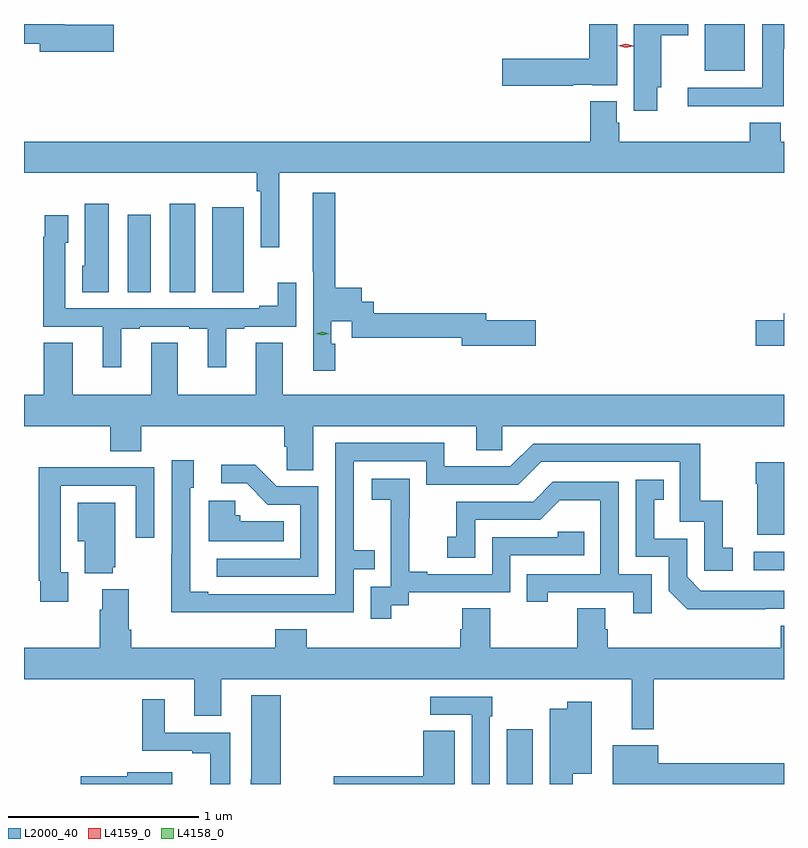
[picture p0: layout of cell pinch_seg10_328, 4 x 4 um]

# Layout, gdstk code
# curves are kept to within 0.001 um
import gdstk
lib = gdstk.Library(unit=1e-6, precision=1e-09)
def R(c, l, rs):  # rectangles x0, y0, x1, y1
    for r in rs: c.add(gdstk.rectangle(r[:2], r[2:], *l))
def P(c, l, *ps):  # polygons
    for p in ps: c.add(gdstk.Polygon(p, *l))
L2000_40 = (2000, 40)
L4158_0 = (4158, 0)
L4159_0 = (4159, 0)

pinch_seg10_328 = lib.new_cell('pinch_seg10_328')
R(pinch_seg10_328, L2000_40, [(480.821,1275.788,480.958,1276.075), (482.121,1276.914,482.28,1277.01), (478.826,1278.376,478.948,1278.784), (479.048,1278.376,479.182,1278.841), (479.27,1278.376,479.437,1278.823), (481.862,1279.541,482.074,1279.788)])
P(pinch_seg10_328, L2000_40, [(478.753,1279.784),(478.492,1279.784),(478.492,1279.788),(478.28,1279.788),(478.28,1279.684),(478.364,1279.684),(478.364,1279.642),(478.753,1279.642)],
  [(481.172,1279.469),(481.272,1279.469),(481.272,1279.466),(481.402,1279.466),(481.402,1279.788),(481.256,1279.788),(481.256,1279.604),(480.798,1279.604),(480.798,1279.462),(481.172,1279.462)],
  [(482.278,1279.659),(482.28,1279.659),(482.28,1279.788),(482.165,1279.788),(482.165,1279.452),(481.773,1279.452),(481.773,1279.355),(482.278,1279.355)],
  [(481.612,1279.455),(481.633,1279.455),(481.633,1279.73),(481.777,1279.73),(481.777,1279.788),(481.49,1279.788),(481.49,1279.332),(481.612,1279.332)],
  [(479.624,1279.004),(482.28,1279.004),(482.28,1279.168),(482.264,1279.168),(482.264,1279.267),(482.099,1279.267),(482.099,1279.168),(481.412,1279.168),(481.412,1279.269),(481.399,1279.269),(481.399,1279.381),(481.259,1279.381),(481.259,1279.168),(478.28,1279.168),(478.28,1279.004),(479.506,1279.004),(479.506,1278.908),(479.526,1278.908),(479.526,1278.612),(479.624,1278.612)],
  [(479.918,1278.105),(479.898,1278.105),(479.898,1278.224),(480.006,1278.224),(480.006,1278.138),(480.584,1278.138),(480.584,1278.095),(480.973,1278.095),(480.973,1278.23),(480.712,1278.23),(480.712,1278.266),(480.122,1278.266),(480.122,1278.327),(480.058,1278.327),(480.058,1278.401),(479.918,1278.401),(479.918,1278.901),(479.801,1278.901),(479.801,1278.484),(479.802,1278.484),(479.802,1277.964),(479.918,1277.964)],
  [(478.726,1278.841),(478.601,1278.841),(478.601,1278.516),(478.586,1278.516),(478.586,1278.376),(478.726,1278.376)],
  [(478.792,1278.183),(478.888,1278.183),(478.888,1278.195),(479.15,1278.195),(479.15,1278.183),(479.246,1278.183),(479.246,1277.982),(479.344,1277.982),(479.344,1278.183),(479.44,1278.183),(479.44,1278.195),(479.712,1278.195),(479.712,1278.427),(479.615,1278.427),(479.615,1278.304),(479.519,1278.304),(479.519,1278.291),(478.497,1278.291),(478.497,1278.636),(478.513,1278.636),(478.513,1278.781),(478.389,1278.781),(478.389,1278.668),(478.381,1278.668),(478.381,1278.195),(478.694,1278.195),(478.694,1277.982),(478.792,1277.982)],
  [(482.28,1278.266),(482.279,1278.266),(482.279,1278.23),(482.13,1278.23),(482.13,1278.095),(482.28,1278.095)],
  [(479.803,1277.672),(480.659,1277.672),(480.659,1277.545),(480.798,1277.545),(480.798,1277.672),(482.28,1277.672),(482.28,1277.836),(479.641,1277.836),(479.641,1278.11),(479.501,1278.11),(479.501,1277.836),(479.089,1277.836),(479.089,1278.11),(478.949,1278.11),(478.949,1277.836),(478.537,1277.836),(478.537,1278.11),(478.385,1278.11),(478.385,1277.836),(478.28,1277.836),(478.28,1277.672),(478.733,1277.672),(478.733,1277.539),(478.898,1277.539),(478.898,1277.672),(479.651,1277.672),(479.651,1277.563),(479.664,1277.563),(479.664,1277.44),(479.803,1277.44)],
  [(479.519,1276.692),(480.015,1276.692),(480.015,1276.917),(480.125,1276.917),(480.125,1277.018),(480.015,1277.018),(480.015,1277.487),(480.396,1277.487),(480.396,1277.364),(480.882,1277.364),(481.002,1277.484),(481.731,1277.484),(481.731,1277.169),(481.86,1277.169),(481.86,1276.911),(482.011,1276.911),(482.011,1277.031),(481.958,1277.031),(481.958,1277.278),(481.84,1277.278),(481.84,1277.58),(480.96,1277.58),(480.84,1277.46),(480.493,1277.46),(480.493,1277.583),(479.919,1277.583),(479.919,1276.788),(479.251,1276.788),(479.251,1276.801),(479.154,1276.801),(479.154,1277.346),(479.173,1277.346),(479.173,1277.491),(479.058,1277.491),(479.058,1276.997),(479.056,1276.997),(479.056,1276.691)],
  [(482.28,1277.482),(482.131,1277.482),(482.131,1277.369),(482.138,1277.369),(482.138,1277.099),(482.28,1277.099)],
  [(479.829,1277.355),(479.61,1277.355),(479.497,1277.468),(479.319,1277.468),(479.319,1277.37),(479.453,1277.37),(479.564,1277.259),(479.733,1277.259),(479.733,1276.974),(479.295,1276.974),(479.295,1276.878),(479.829,1276.878)],
  [(478.513,1276.902),(478.473,1276.902),(478.473,1277.358),(478.869,1277.358),(478.869,1277.085),(478.965,1277.085),(478.965,1277.454),(478.649,1277.454),(478.649,1277.456),(478.357,1277.456),(478.357,1276.858),(478.365,1276.858),(478.365,1276.746),(478.513,1276.746)],
  [(480.214,1276.729),(480.306,1276.729),(480.306,1276.797),(480.84,1276.797),(480.84,1276.992),(481.229,1276.992),(481.229,1277.115),(481.089,1277.115),(481.089,1277.088),(480.744,1277.088),(480.744,1276.893),(480.403,1276.893),(480.403,1276.906),(480.308,1276.906),(480.308,1277.189),(480.309,1277.189),(480.309,1277.395),(480.111,1277.395),(480.111,1277.285),(480.209,1277.285),(480.209,1277.057),(480.21,1277.057),(480.21,1276.827),(480.105,1276.827),(480.105,1276.659),(480.214,1276.659)],
  [(482.18,1276.71),(482.28,1276.71),(482.28,1276.806),(481.842,1276.806),(481.77,1276.878),(481.77,1277.079),(481.597,1277.079),(481.597,1277.283),(481.646,1277.283),(481.646,1277.389),(481.5,1277.389),(481.5,1276.983),(481.674,1276.983),(481.674,1276.806),(481.772,1276.709)],
  [(481.584,1276.893),(481.41,1276.893),(481.41,1277.379),(481.064,1277.379),(480.959,1277.274),(480.556,1277.274),(480.556,1277.089),(480.507,1277.089),(480.507,1276.98),(480.654,1276.98),(480.654,1277.178),(480.996,1277.178),(481.1,1277.282),(481.314,1277.282),(481.314,1276.893),(480.925,1276.893),(480.925,1276.746),(481.036,1276.746),(481.036,1276.797),(481.487,1276.797),(481.487,1276.686),(481.584,1276.686)],
  [(479.648,1277.17),(479.418,1277.17),(479.418,1277.202),(479.391,1277.202),(479.391,1277.278),(479.252,1277.278),(479.252,1277.066),(479.648,1277.066)],
  [(478.748,1276.929),(478.759,1276.929),(478.759,1277.269),(478.562,1277.269),(478.562,1277.066),(478.601,1277.066),(478.601,1276.898),(478.748,1276.898)],
  [(481.595,1276.34),(482.28,1276.34),(482.28,1276.621),(482.264,1276.621),(482.264,1276.504),(481.352,1276.504),(481.352,1276.602),(481.339,1276.602),(481.339,1276.712),(481.192,1276.712),(481.192,1276.504),(480.735,1276.504),(480.735,1276.712),(480.587,1276.712),(480.587,1276.602),(480.575,1276.602),(480.575,1276.504),(479.768,1276.504),(479.768,1276.603),(479.603,1276.603),(479.603,1276.504),(478.844,1276.504),(478.844,1276.6),(478.831,1276.6),(478.831,1276.813),(478.691,1276.813),(478.691,1276.706),(478.679,1276.706),(478.679,1276.504),(478.28,1276.504),(478.28,1276.34),(479.177,1276.34),(479.177,1276.146),(479.317,1276.146),(479.317,1276.34),(481.478,1276.34),(481.478,1276.077),(481.595,1276.077)],
  [(479.632,1275.813),(479.63,1275.813),(479.63,1276.255),(479.477,1276.255),(479.477,1275.813),(479.474,1275.813),(479.474,1275.788),(479.632,1275.788)],
  [(480.732,1276.145),(480.745,1276.145),(480.745,1276.248),(480.417,1276.248),(480.417,1276.152),(480.636,1276.152),(480.636,1275.788),(480.732,1275.788)],
  [(479.365,1276.059),(479.02,1276.059),(479.02,1276.234),(478.903,1276.234),(478.903,1275.963),(479.165,1275.963),(479.165,1275.951),(479.261,1275.951),(479.261,1275.788),(479.365,1275.788)],
  [(481.168,1275.842),(481.267,1275.842),(481.267,1276.222),(481.138,1276.222),(481.138,1276.183),(481.046,1276.183),(481.046,1275.788),(481.168,1275.788)],
  [(480.547,1276.067),(480.38,1276.067),(480.38,1275.83),(479.91,1275.83),(479.91,1275.788),(480.547,1275.788)],
  [(482.28,1275.898),(481.618,1275.898),(481.618,1275.991),(481.379,1275.991),(481.379,1275.788),(482.28,1275.788)],
  [(479.059,1275.85),(478.823,1275.85),(478.823,1275.83),(478.578,1275.83),(478.578,1275.788),(479.059,1275.788)])
P(pinch_seg10_328, L4158_0, [(479.851,1278.149),(479.816,1278.159),(479.816,1278.159),(479.816,1278.159),(479.851,1278.169),(479.886,1278.159),(479.887,1278.159),(479.886,1278.159)])
P(pinch_seg10_328, L4159_0, [(481.447,1279.663),(481.407,1279.673),(481.407,1279.673),(481.407,1279.674),(481.447,1279.683),(481.487,1279.673),(481.487,1279.673),(481.487,1279.672)])

lib.write_gds('pinch_seg10_328.gds')
